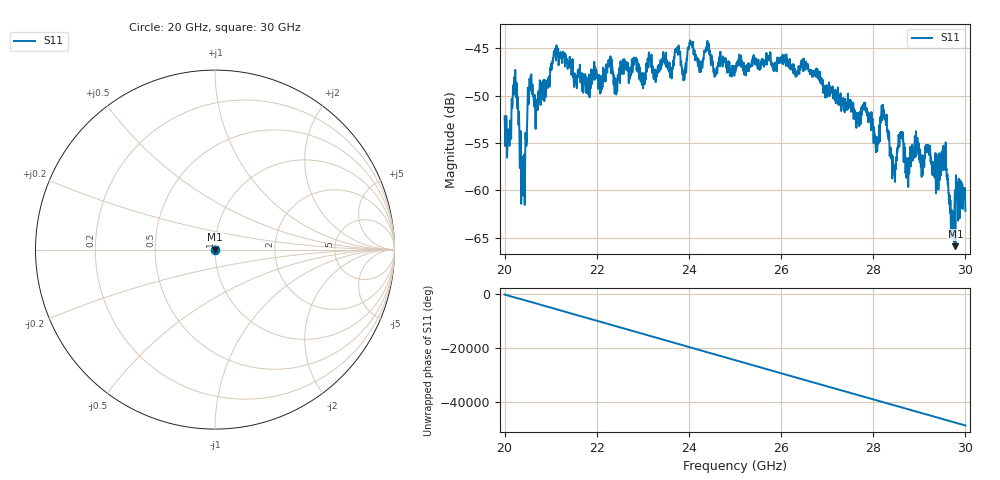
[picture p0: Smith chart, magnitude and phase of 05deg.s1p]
#  HZ  S  RI  R  50.00
! Rohde & Schwarz ZVA40 4Ports - Version 3.90 - 1145.1110k42 SN: 100403
! Date: 2023-10-03 10:21:12
! Measurement: S12
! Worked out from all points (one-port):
!   5001 points, 20 GHz to 30 GHz, reference 50 ohm
!   lowest |S11| = -65.9 dB at 29.78 GHz (marker M1), VSWR 1.00, Z = 50 + j0.036 ohm
!   |S11| at or under -10 dB: start of sweep to end of sweep
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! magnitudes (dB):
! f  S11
! 20 GHz  -52.2
! 20.1 GHz  -54.1
! 20.23 GHz  -47.4
! 20.4 GHz  -59.4
! 20.55 GHz  -48.6
! 20.68 GHz  -50.8
! 21.25 GHz  -46.6
! 21.8 GHz  -49.6
! 22.5 GHz  -48.4
! 23.6 GHz  -47.4
! 23.75 GHz  -45.3
! 23.89 GHz  -47.8
! 24.04 GHz  -44.5
! 25 GHz  -47.0
! 26.25 GHz  -46.8
! 27.5 GHz  -50.8
! 27.83 GHz  -50.8
! 28.07 GHz  -54.4
! 28.22 GHz  -51.9
! 28.44 GHz  -57.7
! 28.6 GHz  -54.2
! 28.75 GHz  -58.5
! 28.94 GHz  -56.0
! 29.37 GHz  -56.3
! 29.53 GHz  -57.2
! 29.71 GHz  -62.1
! 29.78 GHz  -65.9
! 30 GHz  -62.2
